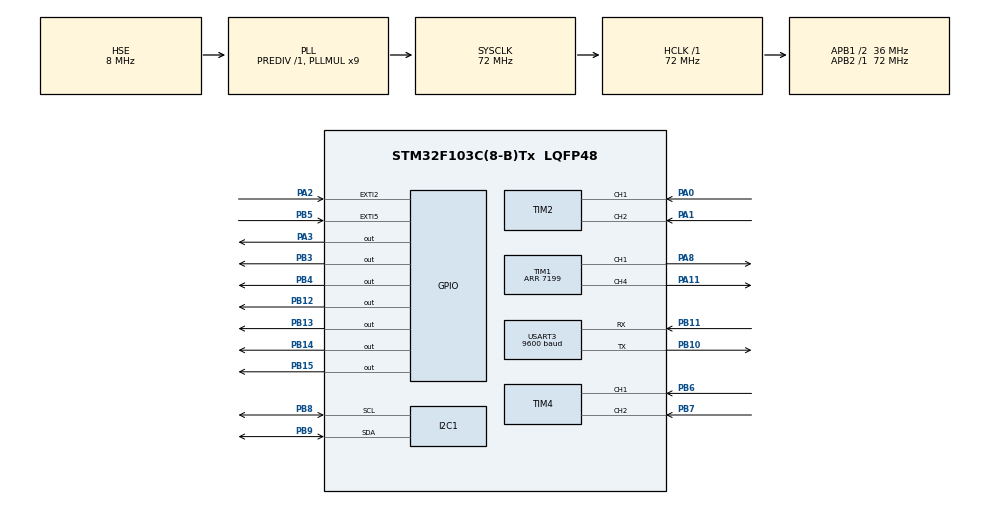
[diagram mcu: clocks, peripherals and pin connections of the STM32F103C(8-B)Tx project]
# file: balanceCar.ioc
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Mcu.Family=STM32F1
Mcu.Name=STM32F103C(8-B)Tx
Mcu.Package=LQFP48
NVIC.EXTI2_IRQn=true\:0\:0\:false\:false\:true\:true\:true\:true
NVIC.EXTI9_5_IRQn=true\:0\:0\:false\:false\:true\:true\:true\:true
NVIC.PriorityGroup=NVIC_PRIORITYGROUP_4
NVIC.USART3_IRQn=true\:0\:0\:false\:false\:true\:true\:true\:true
PA0-WKUP.Signal=S_TIM2_CH1_ETR
PA1.Signal=S_TIM2_CH2
PA11.Signal=S_TIM1_CH4
PA13.Mode=Serial_Wire
PA13.Signal=SYS_JTMS-SWDIO
PA14.Mode=Serial_Wire
PA14.Signal=SYS_JTCK-SWCLK
PA2.GPIO_ModeDefaultEXTI=GPIO_MODE_IT_RISING_FALLING
PA2.Signal=GPXTI2
PA3.GPIO_Speed=GPIO_SPEED_FREQ_HIGH
PA3.Signal=GPIO_Output
PA8.Signal=S_TIM1_CH1
PB10.Mode=Asynchronous
PB10.Signal=USART3_TX
PB11.Mode=Asynchronous
PB11.Signal=USART3_RX
PB12.Signal=GPIO_Output
PB13.Signal=GPIO_Output
PB14.Signal=GPIO_Output
PB15.Signal=GPIO_Output
PB3.Signal=GPIO_Output
PB4.Signal=GPIO_Output
PB5.GPIO_ModeDefaultEXTI=GPIO_MODE_IT_FALLING
PB5.GPIO_PuPd=GPIO_PULLUP
PB5.Signal=GPXTI5
PB6.Signal=S_TIM4_CH1
PB7.Signal=S_TIM4_CH2
PB8.Mode=I2C
PB8.Signal=I2C1_SCL
PB9.Mode=I2C
PB9.Signal=I2C1_SDA
PD0-OSC_IN.Mode=HSE-External-Oscillator
PD0-OSC_IN.Signal=RCC_OSC_IN
PD1-OSC_OUT.Mode=HSE-External-Oscillator
PD1-OSC_OUT.Signal=RCC_OSC_OUT
ProjectManager.HeapSize=0x200
ProjectManager.StackSize=0x400
ProjectManager.TargetToolchain=CMake
RCC.AHBFreq_Value=72000000
RCC.APB1CLKDivider=RCC_HCLK_DIV2
RCC.APB1Freq_Value=36000000
RCC.APB1TimFreq_Value=72000000
RCC.APB2Freq_Value=72000000
RCC.APB2TimFreq_Value=72000000
RCC.HCLKFreq_Value=72000000
RCC.PLLMUL=RCC_PLL_MUL9
RCC.PLLSourceVirtual=RCC_PLLSOURCE_HSE
RCC.SYSCLKFreq_VALUE=72000000
RCC.SYSCLKSource=RCC_SYSCLKSOURCE_PLLCLK
RCC.USBFreq_Value=72000000
SH.S_TIM1_CH1.0=TIM1_CH1,PWM Generation1 CH1
SH.S_TIM1_CH4.0=TIM1_CH4,PWM Generation4 CH4
SH.S_TIM2_CH1_ETR.0=TIM2_CH1,Encoder_Interface
SH.S_TIM2_CH2.0=TIM2_CH2,Encoder_Interface
SH.S_TIM4_CH1.0=TIM4_CH1,Encoder_Interface
SH.S_TIM4_CH2.0=TIM4_CH2,Encoder_Interface
TIM1.Channel-PWM\ Generation1\ CH1=TIM_CHANNEL_1
TIM1.Channel-PWM\ Generation4\ CH4=TIM_CHANNEL_4
TIM1.OC1Preload_PWM=DISABLE
TIM1.Period=7199
TIM1.Pulse-PWM\ Generation1\ CH1=7200
TIM2.EncoderMode=TIM_ENCODERMODE_TI12
TIM2.IC1Filter=15
TIM2.IC2Filter=15
TIM3.Prescaler=71
TIM4.EncoderMode=TIM_ENCODERMODE_TI12
TIM4.IC1Filter=15
TIM4.IC2Filter=15
USART3.BaudRate=9600
USART3.VirtualMode=VM_ASYNC
VP_TIM3_VS_ClockSourceINT.Mode=Internal
board=custom

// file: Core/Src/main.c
/* USER CODE BEGIN Header */
/**
  ******************************************************************************
  * @file           : main.c
  * @brief          : Main program body
  ******************************************************************************
  * @attention
  *
  * Copyright (c) 2024 STMicroelectronics.
  * All rights reserved.
  *
  * This software is licensed under terms that can be found in the LICENSE file
  * in the root directory of this software component.
  * If no LICENSE file comes with this software, it is provided AS-IS.
  *
  ******************************************************************************
  */
/* USER CODE END Header */
#include "main.h"
#include "i2c.h"
#include "tim.h"
#include "usart.h"
#include "gpio.h"

/* USER CODE BEGIN Includes */
#include "oled.h"
#include "IIC.h"
#include "inv_mpu.h"
#include "inv_mpu_dmp_motion_driver.h"
#include "mpu6050.h"
#include "stdio.h"
#include "sr04.h"
#include "motor.h"
#include "encoder.h"
/* USER CODE END Includes */

/* USER CODE BEGIN PD */
/* ================= 蓝牙遥测（发到电脑上的 VOFA+） =================
   格式叫 FireWater：逗号分隔、换行结尾。VOFA+ 里把解析方式选成 "FireWater"。
   七个通道依次为：
     1 roll 倾角(度)   2 gyrox 角速度(原始值)   3 Vertical_out 直立环输出(PWM)
     4 Velocity_out 速度环输出(度)   5 左右轮脉冲之和   6 stop 摔倒标志
     7 Control_dt_ms 实测控制周期(ms)
   注意 9600 波特率下一帧约 24 字符要占用约 25 ms，发送频率上不去。
   想更快：给蓝牙模块发 AT+BAUD8 改成 115200（改完重新上电），
   再把 usart.c 里的波特率也改成 115200。 */
#define BT_DECIM    5      /* 每 N 次 Control() 发一帧 → 100/N Hz，5 即 20 Hz */
#define BT_OLED_MS  200    /* 屏幕刷新间隔(ms)。故意放慢，因为串口发送是阻塞的 */
/* USER CODE END PD */

/* USER CODE BEGIN PV */
/* 这些变量定义在别的文件（主要是 pid.c），此处声明以便使用 */
extern float roll;
extern float Speed_Pos;
extern float Speed_Pos_Raw;
extern float Control_dt_ms;
extern int Encoder_Left,Encoder_Right;
extern short gyrox;
extern short gyroz;
extern int Vertical_out,Turn_out;
extern float Velocity_out;
extern float Med_Angle;
extern uint8_t stop;
extern volatile uint32_t Control_Tick;
uint8_t display_buf[20];            /* 屏幕显示缓冲 */
uint8_t tx_buf[64];                 /* 串口发送缓冲 */
uint32_t sys_tick;
uint32_t oled_tick;                 /* 上次刷新屏幕的时刻 */
uint32_t bt_tick;                   /* 上次发送遥测的时刻 */
uint32_t bt_ok;                     /* 累计发送成功帧数 */
extern float distance;
extern uint8_t distance_valid;      /* 0 = 上次测距无回波，数据已过期 */
extern uint8_t rx_buf[2];
extern uint8_t Bluetooth_data;      /* 手机 App 最近发来的字节 */
extern uint32_t bt_rx_count;        /* 接收到的字节总数 */
/* USER CODE END PV */

void SystemClock_Config(void);
/* USER CODE BEGIN PFP */
void Read(void);
/* USER CODE END PFP */

int main(void)
{

  /* MCU Configuration--------------------------------------------------------*/

  /* Reset of all peripherals, Initializes the Flash interface and the Systick. */
  HAL_Init();

  /* Configure the system clock */
  SystemClock_Config();

  /* Initialize all configured peripherals */
  MX_GPIO_Init();
  MX_I2C1_Init();
  MX_TIM3_Init();
  MX_TIM1_Init();
  MX_TIM2_Init();
  MX_TIM4_Init();
  MX_USART3_UART_Init();
  /* USER CODE BEGIN 2 */
	OLED_Init();
	OLED_Clear();
	MPU_Init();                 /* 初始化 MPU6050 */
	mpu_dmp_init();             /* 加载 DMP 固件，由它内部解算姿态角 */
	OLED_ShowString(0,00,"Init Sucess",16);

	/* 打开 MPU6050 中断：DMP 每算好一组数据就拉低该引脚，
	   中断服务函数里执行一次 Control()，这就是控制节拍的来源。 */
	HAL_NVIC_SetPriority(EXTI9_5_IRQn, 0, 0);
  HAL_NVIC_EnableIRQ(EXTI9_5_IRQn);

	HAL_TIM_PWM_Start(&htim1,TIM_CHANNEL_1);        /* 启动两路电机 PWM */
	HAL_TIM_PWM_Start(&htim1,TIM_CHANNEL_4);
	HAL_TIM_Encoder_Start(&htim2,TIM_CHANNEL_ALL);  /* 启动左右轮编码器 */
	HAL_TIM_Encoder_Start(&htim4,TIM_CHANNEL_ALL);

	/* 打开串口接收中断。手机发来的字节在 USART3_IRQHandler 里
	   被解析成方向指令（见 stm32f1xx_it.c）。 */
	HAL_UART_Receive_IT(&huart3,rx_buf,1);
	Load(0,0);                  /* 先停住电机，避免上电就窜出去 */
	OLED_Clear();
  /* USER CODE END 2 */

  /* Infinite loop */
  /* USER CODE BEGIN WHILE */
  while (1)
  {
		int bt_len;

		/* 每 BT_DECIM 次控制周期发一帧遥测，保证采样间隔均匀 */
		if((uint32_t)(Control_Tick - bt_tick) >= BT_DECIM)
		{
			bt_tick = Control_Tick;
			bt_len = sprintf((char *)tx_buf,"%.2f,%hd,%d,%.2f,%d,%d,%.1f\n",
			                 roll,                        /* 1 倾角(度)      */
			                 gyrox,                       /* 2 角速度(原始值) */
			                 Vertical_out,                /* 3 直立环输出    */
			                 Velocity_out,                /* 4 速度环输出(度) */
			                 Encoder_Left+Encoder_Right,  /* 5 轮速          */
			                 (int)stop,                   /* 6 摔倒标志      */
			                 Control_dt_ms);              /* 7 控制周期(ms)  */
			if(HAL_UART_Transmit(&huart3,tx_buf,(uint16_t)bt_len,100)==HAL_OK)
				bt_ok++;                                 /* 只统计成功帧 */
		}

		/* 屏幕调试信息，刷新较慢，方便不上电脑也能看到状态 */
		if((uint32_t)(HAL_GetTick() - oled_tick) >= BT_OLED_MS)
		{
			oled_tick = HAL_GetTick();
			sprintf((char *)display_buf,"roll:%.1f ",roll);
			OLED_ShowString(0,0,display_buf,16);
			sprintf((char *)display_buf,"distance=%.2f",distance);
			OLED_ShowString(0,2,display_buf,16);
			sprintf((char *)display_buf,"");
			OLED_ShowString(0,4,display_buf,16);

		}
    /* USER CODE END WHILE */

  }
}

void SystemClock_Config(void)
{
  RCC_OscInitTypeDef RCC_OscInitStruct = {0};
  RCC_ClkInitTypeDef RCC_ClkInitStruct = {0};

  /** Initializes the RCC Oscillators according to the specified parameters
  * in the RCC_OscInitTypeDef structure.
  */
  RCC_OscInitStruct.OscillatorType = RCC_OSCILLATORTYPE_HSE;
  RCC_OscInitStruct.HSEState = RCC_HSE_ON;
  RCC_OscInitStruct.HSEPredivValue = RCC_HSE_PREDIV_DIV1;
  RCC_OscInitStruct.HSIState = RCC_HSI_ON;
  RCC_OscInitStruct.PLL.PLLState = RCC_PLL_ON;
  RCC_OscInitStruct.PLL.PLLSource = RCC_PLLSOURCE_HSE;
  RCC_OscInitStruct.PLL.PLLMUL = RCC_PLL_MUL9;
  if (HAL_RCC_OscConfig(&RCC_OscInitStruct) != HAL_OK)
  {
    Error_Handler();
  }

  /** Initializes the CPU, AHB and APB buses clocks
  */
  RCC_ClkInitStruct.ClockType = RCC_CLOCKTYPE_HCLK|RCC_CLOCKTYPE_SYSCLK
                              |RCC_CLOCKTYPE_PCLK1|RCC_CLOCKTYPE_PCLK2;
  RCC_ClkInitStruct.SYSCLKSource = RCC_SYSCLKSOURCE_PLLCLK;
  RCC_ClkInitStruct.AHBCLKDivider = RCC_SYSCLK_DIV1;
  RCC_ClkInitStruct.APB1CLKDivider = RCC_HCLK_DIV2;
  RCC_ClkInitStruct.APB2CLKDivider = RCC_HCLK_DIV1;

  if (HAL_RCC_ClockConfig(&RCC_ClkInitStruct, FLASH_LATENCY_2) != HAL_OK)
  {
    Error_Handler();
  }
}

void Error_Handler(void)
{
  __disable_irq();
  while (1)
  {
  }
}
